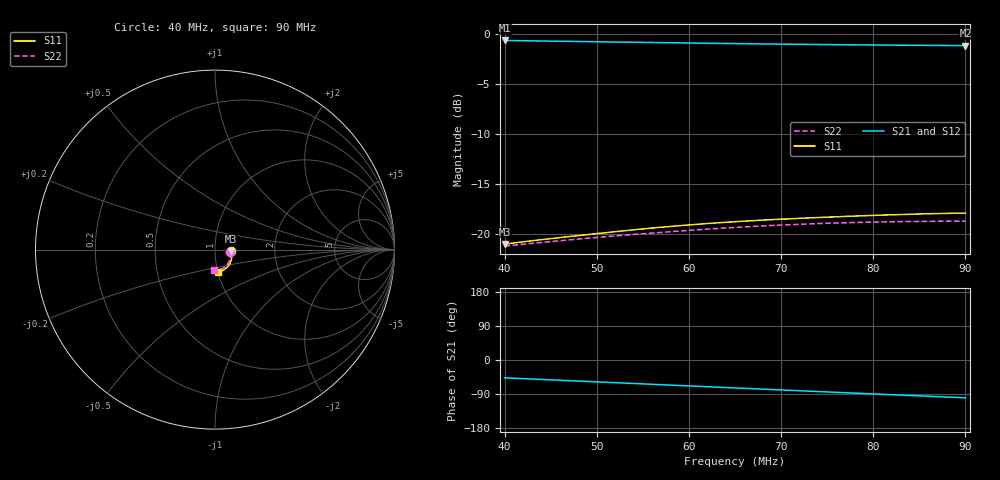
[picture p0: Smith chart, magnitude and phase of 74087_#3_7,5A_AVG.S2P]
!Agilent Technologies,E5061B,MY49102235,A.02.00
!Date: Mon Jul 03 11:18:48 2023
!Data & Calibration Information:
!Freq	S11:SOLT2(ON)	S21:SOLT2(ON)	S12:SOLT2(ON)	S22:SOLT2(ON)
# Hz S RI R 50
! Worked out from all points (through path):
!   1600 points, 40 MHz to 90 MHz, reference 50 ohm
!   highest |S21| = -0.62 dB at 40.03 MHz (marker M1); lowest = -1.1 dB at 90 MHz (marker M2)
!   group delay of S21, straight-line fit = 2.93 ns
!   lowest |S11| = -21.0 dB at 40 MHz (marker M3), VSWR 1.20, Z = 59.7 - j1.08 ohm
!   |S11| at or under -10 dB: start of sweep to end of sweep
!   |S22| runs from -21.2 to -18.7 dB; largest |S21 - S12| = 0.00092
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4e7  0.0884 -0.00901  0.6355 -0.6807  0.6356 -0.6799  0.0857 -0.0137
4.003127e7  0.0885 -0.00914  0.6351 -0.681  0.6353 -0.6802  0.0857 -0.0138
4.087555e7  0.0892 -0.0113  0.6231 -0.6902  0.6235 -0.6895  0.0862 -0.0162
4.450281e7  0.0918 -0.0213  0.5711 -0.7273  0.5712 -0.727  0.0872 -0.0263
4.834897e7  0.093 -0.0325  0.5137 -0.7627  0.5139 -0.7623  0.0869 -0.0372
5.053784e7  0.0931 -0.0392  0.4802 -0.7809  0.4805 -0.7804  0.086 -0.0435
5.26329e7  0.0927 -0.0455  0.4476 -0.7969  0.4478 -0.7965  0.0848 -0.0495
5.485303e7  0.0918 -0.0524  0.4126 -0.812  0.4129 -0.8119  0.083 -0.0558
5.666667e7  0.0907 -0.0579  0.3838 -0.8233  0.384 -0.8231  0.081 -0.0609
5.898061e7  0.0888 -0.065  0.3469 -0.8362  0.3469 -0.8362  0.0782 -0.0676
6.079425e7  0.0867 -0.0703  0.3178 -0.8453  0.3178 -0.8452  0.0754 -0.0726
6.273296e7  0.0842 -0.0758  0.2866 -0.8539  0.2867 -0.8537  0.0721 -0.0778
6.501563e7  0.0806 -0.0821  0.2496 -0.8626  0.2498 -0.8622  0.0677 -0.0838
6.901814e7  0.073 -0.0925  0.1851 -0.8742  0.1852 -0.8738  0.0584 -0.0935
7.133208e7  0.068 -0.098  0.1477 -0.879  0.1478 -0.8784  0.0522 -0.0983
7.33646e7  0.063 -0.1027  0.1148 -0.882  0.1151 -0.8815  0.0465 -0.1022
7.746091e7  0.0525 -0.1107  0.0488 -0.8845  0.049 -0.884  0.0343 -0.1086
8.16823e7  0.0403 -0.1178  -0.0189 -0.8824  -0.0184 -0.8822  0.0208 -0.113
8.358974e7  0.0346 -0.1204  -0.0493 -0.88  -0.0488 -0.8797  0.0146 -0.1143
8.596623e7  0.0274 -0.1232  -0.0868 -0.8755  -0.0865 -0.8754  0.00701 -0.1154
8.971857e7  0.0156 -0.1261  -0.1452 -0.8655  -0.1452 -0.8654  -0.00534 -0.1157
9e7  0.0147 -0.1263  -0.1494 -0.8645  -0.1495 -0.8646  -0.00627 -0.1156
